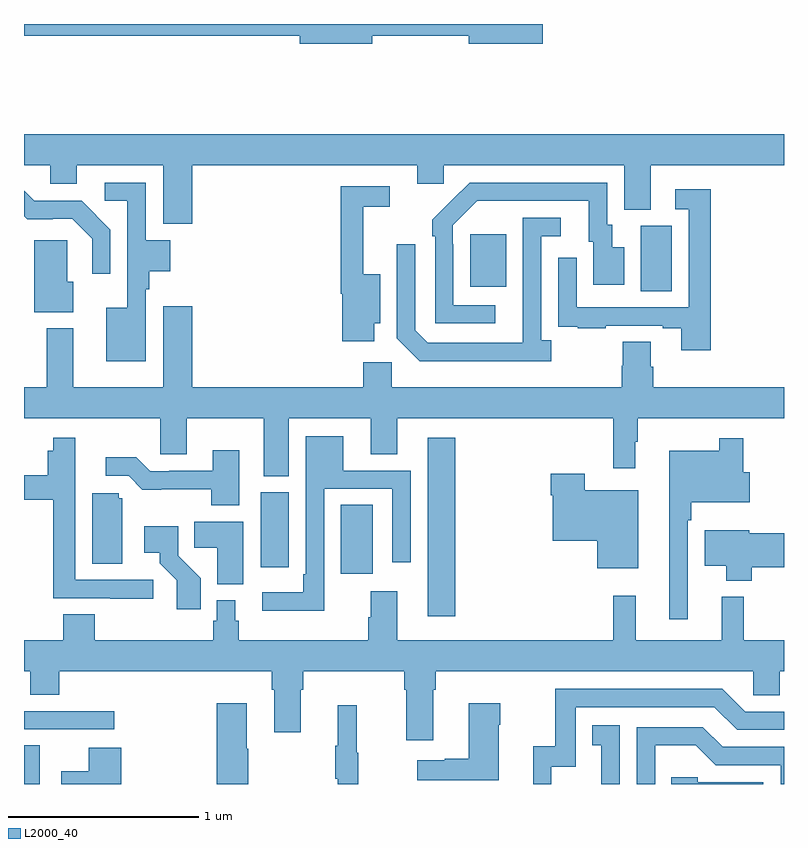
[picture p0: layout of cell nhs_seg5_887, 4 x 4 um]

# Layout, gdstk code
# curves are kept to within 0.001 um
import gdstk
lib = gdstk.Library(unit=1e-6, precision=1e-09)
def R(c, l, rs):  # rectangles x0, y0, x1, y1
    for r in rs: c.add(gdstk.rectangle(r[:2], r[2:], *l))
def P(c, l, *ps):  # polygons
    for p in ps: c.add(gdstk.Polygon(p, *l))
L2000_40 = (2000, 40)

nhs_seg5_887 = lib.new_cell('nhs_seg5_887')
R(nhs_seg5_887, L2000_40, [(167,890.799,167.083,891.002), (167,891.087,167.476,891.183), (169.124,891.681,169.271,892.621), (168.668,891.906,168.835,892.268), (168.245,891.939,168.394,892.335), (170.246,893.392,170.41,893.736), (169.349,893.417,169.537,893.692)])
P(nhs_seg5_887, L2000_40, [(168.832,894.736),(169.34,894.736),(169.34,894.694),(169.729,894.694),(169.729,894.799),(167,894.799),(167,894.736),(168.452,894.736),(168.452,894.694),(168.832,894.694)],
  [(167.885,894.056),(169.07,894.056),(169.07,893.958),(169.209,893.958),(169.209,894.056),(170.159,894.056),(170.159,893.821),(170.299,893.821),(170.299,894.056),(171,894.056),(171,894.22),(167,894.22),(167,894.056),(167.138,894.056),(167.138,893.957),(167.278,893.957),(167.278,894.056),(167.732,894.056),(167.732,893.747),(167.885,893.747)],
  [(167.64,893.402),(167.66,893.402),(167.66,893.498),(167.77,893.498),(167.77,893.662),(167.64,893.662),(167.64,893.964),(167.424,893.964),(167.424,893.868),(167.544,893.868),(167.544,893.305),(167.432,893.305),(167.432,893.024),(167.64,893.024)],
  [(169.48,893.319),(169.26,893.319),(169.26,893.639),(169.257,893.639),(169.257,893.739),(169.386,893.868),(169.973,893.868),(169.973,893.652),(169.997,893.652),(169.997,893.427),(170.158,893.427),(170.158,893.623),(170.095,893.623),(170.095,893.742),(170.07,893.742),(170.07,893.964),(169.346,893.964),(169.149,893.769),(169.149,893.681),(169.164,893.681),(169.164,893.223),(169.48,893.223)],
  [(168.844,893.225),(168.874,893.225),(168.874,893.482),(168.785,893.482),(168.785,893.838),(168.925,893.838),(168.925,893.946),(168.667,893.946),(168.667,893.378),(168.674,893.378),(168.674,893.13),(168.844,893.13)],
  [(170.615,893.929),(170.427,893.929),(170.427,893.823),(170.499,893.823),(170.499,893.307),(169.908,893.307),(169.908,893.569),(169.812,893.569),(169.812,893.314),(169.813,893.314),(169.813,893.205),(169.915,893.205),(169.915,893.199),(170.063,893.199),(170.063,893.211),(170.363,893.211),(170.363,893.199),(170.459,893.199),(170.459,893.082),(170.615,893.082)],
  [(167.454,893.716),(167.304,893.868),(167.053,893.868),(167,893.921),(167,893.788),(167.016,893.772),(167.152,893.772),(167.152,893.774),(167.254,893.774),(167.36,893.669),(167.36,893.484),(167.454,893.484)],
  [(169.774,893.134),(169.722,893.134),(169.722,893.682),(169.825,893.682),(169.825,893.778),(169.626,893.778),(169.625,893.121),(169.125,893.121),(169.059,893.187),(169.059,893.641),(168.963,893.641),(168.963,893.145),(169.084,893.024),(169.774,893.024)],
  [(167.26,893.443),(167.227,893.443),(167.227,893.661),(167.054,893.661),(167.054,893.282),(167.26,893.282)],
  [(167.26,893.197),(167.12,893.197),(167.12,892.888),(167,892.888),(167,892.724),(167.718,892.724),(167.718,892.534),(167.857,892.534),(167.857,892.724),(168.263,892.724),(168.263,892.42),(168.394,892.42),(168.394,892.724),(168.824,892.724),(168.824,892.534),(168.964,892.534),(168.964,892.724),(170.101,892.724),(170.101,892.461),(170.218,892.461),(170.218,892.601),(170.23,892.601),(170.23,892.724),(171,892.724),(171,892.888),(170.312,892.888),(170.312,892.994),(170.299,892.994),(170.299,893.126),(170.152,893.126),(170.152,893.001),(170.147,893.001),(170.147,892.888),(168.936,892.888),(168.936,893.02),(168.785,893.02),(168.785,892.888),(167.885,892.888),(167.885,893.314),(167.732,893.314),(167.732,892.888),(167.26,892.888)],
  [(168.579,892.353),(168.939,892.353),(168.939,891.966),(169.035,891.966),(169.035,892.449),(168.679,892.449),(168.679,892.63),(168.483,892.63),(168.483,891.904),(168.471,891.904),(168.471,891.808),(168.255,891.808),(168.255,891.71),(168.579,891.71)],
  [(167.68,891.873),(167.271,891.873),(167.271,892.621),(167.155,892.621),(167.155,892.552),(167.126,892.552),(167.126,892.423),(167,892.423),(167,892.294),(167.155,892.294),(167.155,891.777),(167.455,891.777),(167.455,891.775),(167.68,891.775)],
  [(170.493,892.187),(170.513,892.187),(170.513,892.283),(170.821,892.283),(170.821,892.441),(170.786,892.441),(170.786,892.618),(170.658,892.618),(170.658,892.552),(170.396,892.552),(170.396,891.666),(170.493,891.666)],
  [(168.133,892.555),(167.993,892.555),(167.993,892.449),(167.764,892.449),(167.764,892.446),(167.664,892.446),(167.591,892.519),(167.43,892.519),(167.43,892.422),(167.55,892.422),(167.623,892.349),(167.986,892.35),(167.986,892.265),(168.133,892.265)],
  [(170.233,892.345),(169.95,892.345),(169.95,892.432),(169.772,892.432),(169.772,892.319),(169.784,892.319),(169.784,892.079),(170.018,892.079),(170.018,891.935),(170.233,891.935)],
  [(167.518,892.302),(167.499,892.302),(167.499,892.329),(167.36,892.329),(167.36,891.958),(167.518,891.958)],
  [(168.154,892.18),(167.896,892.18),(167.896,892.042),(168.017,892.042),(168.017,891.851),(168.154,891.851)],
  [(167.93,891.882),(167.811,892.001),(167.811,892.156),(167.634,892.156),(167.634,892.016),(167.714,892.016),(167.714,891.961),(167.805,891.871),(167.805,891.72),(167.93,891.72)],
  [(170.831,891.94),(171,891.94),(171,892.118),(170.818,892.118),(170.818,892.135),(170.582,892.135),(170.582,891.947),(170.696,891.947),(170.696,891.869),(170.831,891.869)],
  [(169.153,891.296),(169.166,891.296),(169.166,891.392),(170.838,891.392),(170.838,891.265),(170.977,891.265),(170.977,891.392),(171,891.392),(171,891.556),(170.789,891.556),(170.789,891.784),(170.672,891.784),(170.672,891.556),(170.219,891.556),(170.219,891.79),(170.101,891.79),(170.101,891.556),(168.964,891.556),(168.964,891.814),(168.824,891.814),(168.824,891.677),(168.812,891.677),(168.812,891.556),(168.131,891.556),(168.131,891.657),(168.112,891.657),(168.112,891.766),(168.015,891.766),(168.015,891.657),(167.995,891.657),(167.995,891.556),(167.372,891.556),(167.372,891.692),(167.207,891.692),(167.207,891.556),(167,891.556),(167,891.392),(167.033,891.392),(167.033,891.268),(167.186,891.268),(167.186,891.392),(168.305,891.392),(168.305,891.296),(168.317,891.296),(168.317,891.072),(168.457,891.072),(168.457,891.296),(168.47,891.296),(168.47,891.392),(169.001,891.392),(169.001,891.296),(169.013,891.296),(169.013,891.03),(169.153,891.03)],
  [(169.776,890.889),(169.905,890.889),(169.905,891.204),(170.634,891.204),(170.754,891.084),(171,891.084),(171,891.18),(170.796,891.18),(170.676,891.3),(169.797,891.3),(169.797,890.998),(169.679,890.998),(169.679,890.799),(169.776,890.799)],
  [(169.498,891.11),(169.506,891.11),(169.506,891.223),(169.34,891.223),(169.34,890.933),(169.214,890.933),(169.214,890.923),(169.071,890.923),(169.071,890.819),(169.498,890.819)],
  [(168.18,890.984),(168.172,890.984),(168.172,891.223),(168.014,891.223),(168.014,890.799),(168.18,890.799)],
  [(168.76,890.964),(168.752,890.964),(168.752,891.214),(168.65,891.214),(168.65,891.001),(168.639,891.001),(168.639,890.827),(168.65,890.827),(168.65,890.799),(168.76,890.799)],
  [(170.136,891.109),(169.99,891.109),(169.99,891.003),(170.039,891.003),(170.039,890.799),(170.136,890.799)],
  [(170.322,891.002),(170.536,891.002),(170.64,890.898),(170.982,890.898),(170.982,890.799),(171,890.799),(171,890.994),(170.677,890.994),(170.572,891.099),(170.226,891.099),(170.226,890.799),(170.322,890.799)],
  [(167.513,890.989),(167.342,890.989),(167.342,890.866),(167.195,890.866),(167.195,890.799),(167.513,890.799)],
  [(170.892,890.808),(170.547,890.808),(170.547,890.835),(170.407,890.835),(170.407,890.799),(170.892,890.799)])

lib.write_gds('nhs_seg5_887.gds')
